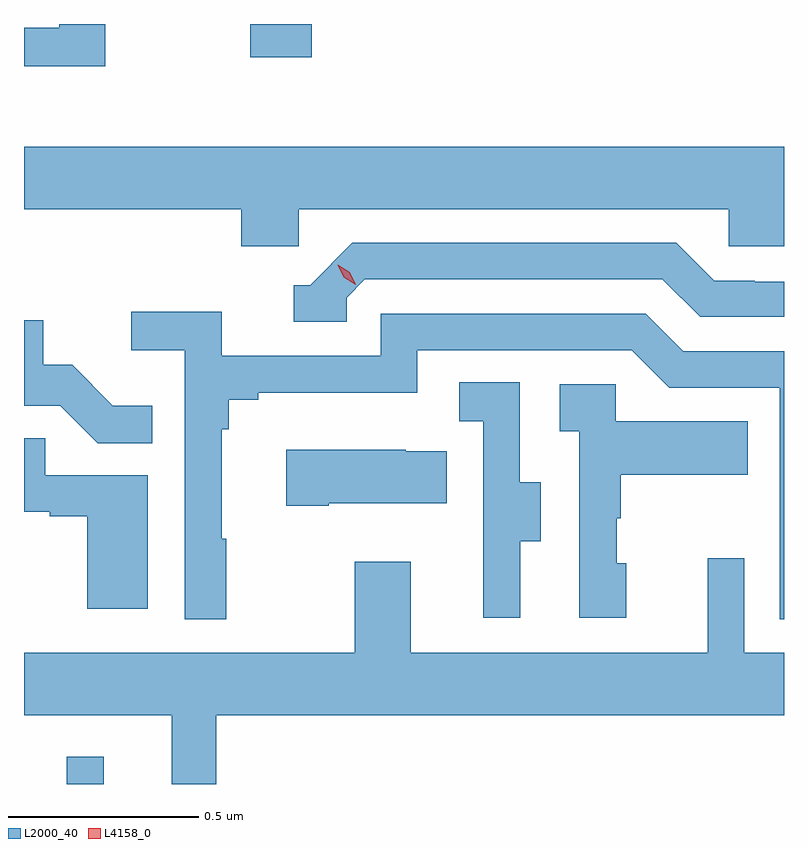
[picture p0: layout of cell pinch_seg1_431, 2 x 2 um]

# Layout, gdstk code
import gdstk
lib = gdstk.Library(unit=1e-6, precision=1e-09)
def R(c, l, rs):  # rectangles x0, y0, x1, y1
    for r in rs: c.add(gdstk.rectangle(r[:2], r[2:], *l))
def P(c, l, *ps):  # polygons
    for p in ps: c.add(gdstk.Polygon(p, *l))
L2000_40 = (2000, 40)
L4158_0 = (4158, 0)

pinch_seg1_431 = lib.new_cell('pinch_seg1_431')
R(pinch_seg1_431, L2000_40, [(925.862,536.899,925.959,536.971), (926.345,538.812,926.506,538.899)])
P(pinch_seg1_431, L2000_40, [(925.963,538.899),(925.842,538.899),(925.842,538.889),(925.749,538.889),(925.749,538.788),(925.963,538.788)],
  [(926.472,538.412),(927.603,538.412),(927.603,538.314),(927.749,538.314),(927.749,538.576),(925.749,538.576),(925.749,538.412),(926.321,538.412),(926.321,538.314),(926.472,538.314)],
  [(926.598,538.179),(926.646,538.227),(927.429,538.227),(927.528,538.128),(927.749,538.128),(927.749,538.221),(927.672,538.221),(927.672,538.224),(927.565,538.224),(927.466,538.323),(926.613,538.323),(926.502,538.212),(926.459,538.212),(926.459,538.116),(926.598,538.116)],
  [(926.281,537.545),(926.269,537.545),(926.269,537.833),(926.288,537.833),(926.288,537.91),(926.365,537.91),(926.365,537.929),(926.784,537.929),(926.784,538.041),(927.348,538.041),(927.447,537.942),(927.738,537.942),(927.738,537.333),(927.749,537.333),(927.749,538.038),(927.484,538.038),(927.385,538.137),(926.688,538.137),(926.688,538.026),(926.27,538.026),(926.27,538.142),(926.031,538.142),(926.031,538.04),(926.172,538.04),(926.172,537.333),(926.281,537.333)],
  [(926.087,537.895),(925.983,537.895),(925.876,538.002),(925.8,538.002),(925.8,538.119),(925.749,538.119),(925.749,537.894),(925.845,537.894),(925.943,537.796),(926.087,537.796)],
  [(927.055,537.538),(927.109,537.538),(927.109,537.693),(927.054,537.693),(927.054,537.956),(926.895,537.956),(926.895,537.853),(926.958,537.853),(926.958,537.549),(926.957,537.549),(926.957,537.336),(927.055,537.336)],
  [(927.334,537.48),(927.309,537.48),(927.309,537.599),(927.319,537.599),(927.319,537.713),(927.653,537.713),(927.653,537.853),(927.306,537.853),(927.306,537.951),(927.159,537.951),(927.159,537.827),(927.21,537.827),(927.21,537.336),(927.334,537.336)],
  [(926.074,537.711),(925.805,537.711),(925.805,537.809),(925.749,537.809),(925.749,537.615),(925.817,537.615),(925.817,537.603),(925.916,537.603),(925.916,537.36),(926.074,537.36)],
  [(926.551,537.638),(926.861,537.638),(926.861,537.775),(926.753,537.775),(926.753,537.778),(926.439,537.778),(926.439,537.631),(926.551,537.631)],
  [(926.255,537.08),(927.749,537.08),(927.749,537.244),(927.645,537.244),(927.645,537.493),(927.548,537.493),(927.548,537.244),(926.767,537.244),(926.767,537.484),(926.62,537.484),(926.62,537.244),(925.749,537.244),(925.749,537.08),(926.138,537.08),(926.138,536.899),(926.255,536.899)])
P(pinch_seg1_431, L4158_0, [(926.622,538.213),(926.591,538.232),(926.575,538.265),(926.575,538.265),(926.575,538.265),(926.606,538.246),(926.622,538.213),(926.622,538.213)])

lib.write_gds('pinch_seg1_431.gds')
